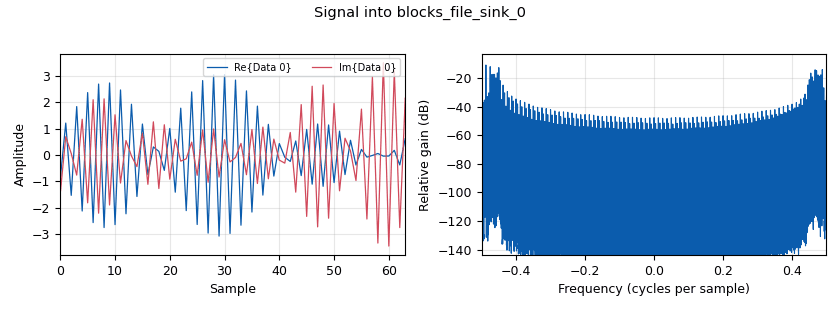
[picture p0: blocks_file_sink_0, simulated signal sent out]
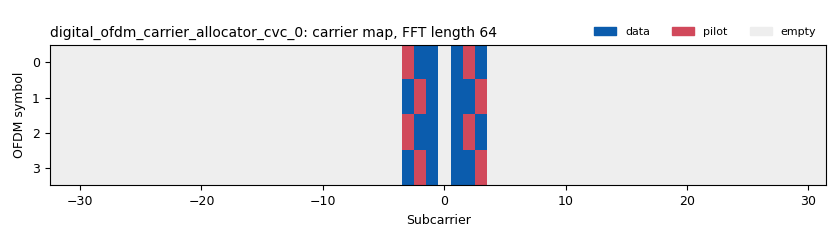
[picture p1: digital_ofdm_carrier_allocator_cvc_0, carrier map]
options:
  parameters:
    generate_options: qt_gui
    id: top_block
    output_language: python
    title: ofdm
  states: {}

blocks:
- name: fft_len
  id: variable
  parameters:
    value: '64'
  states: {}
- name: samp_rate
  id: variable
  parameters:
    value: '16000'
  states: {}
- name: analog_sig_source_x_0
  id: analog_sig_source_x
  parameters:
    amp: '1'
    freq: '50'
    offset: '0'
    phase: '0'
    samp_rate: samp_rate
    type: complex
    waveform: analog.GR_COS_WAVE
  states: {}
- name: blocks_file_sink_0
  id: blocks_file_sink
  parameters:
    append: 'True'
    file: /home/gnuradio/Documents/QUICK OFDM/ofdm.dat
    type: complex
  states: {}
- name: blocks_stream_to_tagged_stream_0
  id: blocks_stream_to_tagged_stream
  parameters:
    len_tag_key: '"packet_len"'
    packet_len: '10'
    type: complex
  states: {}
- name: digital_ofdm_carrier_allocator_cvc_0
  id: digital_ofdm_carrier_allocator_cvc
  parameters:
    fft_len: fft_len
    len_tag_key: '"packet_len"'
    occupied_carriers: ((-2, -1, 1, 3), (-3, -1, 1, 2))
    output_is_shifted: 'True'
    pilot_carriers: ((-3, 2), (-2, 3))
    pilot_symbols: ((-1,-1j), (1,1j), (-1, 1j), (-1j, 1))
    sync_words: ()
  states: {}
- name: digital_ofdm_cyclic_prefixer_0
  id: digital_ofdm_cyclic_prefixer
  parameters:
    cp_len: '16'
    input_size: fft_len
    tagname: '"packet_len"'
  states: {}
- name: fft_vxx_0
  id: fft_vxx
  parameters:
    fft_size: fft_len
    forward: 'True'
    shift: 'True'
    type: complex
    window: window.blackmanharris(fft_len)
  states: {}

connections:
- [analog_sig_source_x_0, '0', blocks_stream_to_tagged_stream_0, '0']
- [blocks_stream_to_tagged_stream_0, '0', digital_ofdm_carrier_allocator_cvc_0, '0']
- [digital_ofdm_carrier_allocator_cvc_0, '0', fft_vxx_0, '0']
- [digital_ofdm_cyclic_prefixer_0, '0', blocks_file_sink_0, '0']
- [fft_vxx_0, '0', digital_ofdm_cyclic_prefixer_0, '0']

metadata:
  file_format: 1
